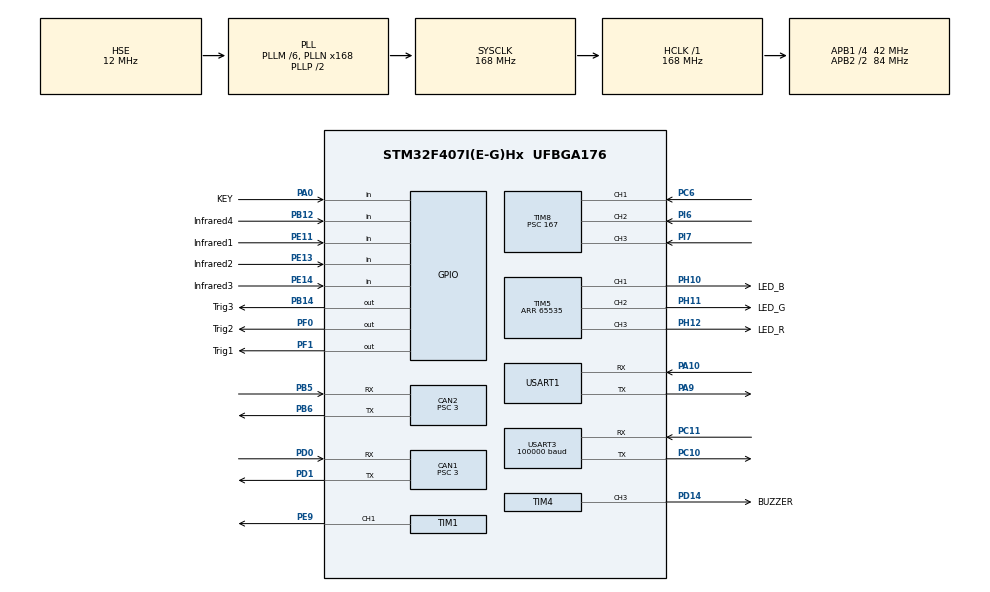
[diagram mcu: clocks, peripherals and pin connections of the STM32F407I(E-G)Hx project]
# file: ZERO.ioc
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CAN1.BS1=CAN_BS1_10TQ
CAN1.BS2=CAN_BS2_3TQ
CAN1.CalculateBaudRate=1000000
CAN1.CalculateTimeBit=1000
CAN1.CalculateTimeQuantum=71.42857142857143
CAN1.Prescaler=3
CAN1.SJW=CAN_SJW_1TQ
CAN2.BS1=CAN_BS1_10TQ
CAN2.BS2=CAN_BS2_3TQ
CAN2.CalculateBaudRate=1000000
CAN2.CalculateTimeBit=1000
CAN2.CalculateTimeQuantum=71.42857142857143
CAN2.Prescaler=3
Dma.Request0=USART3_RX
Dma.Request1=USART1_TX
Dma.USART1_TX.1.Direction=DMA_MEMORY_TO_PERIPH
Dma.USART1_TX.1.FIFOMode=DMA_FIFOMODE_DISABLE
Dma.USART1_TX.1.Instance=DMA2_Stream7
Dma.USART1_TX.1.MemDataAlignment=DMA_MDATAALIGN_BYTE
Dma.USART1_TX.1.MemInc=DMA_MINC_ENABLE
Dma.USART1_TX.1.Mode=DMA_NORMAL
Dma.USART1_TX.1.PeriphDataAlignment=DMA_PDATAALIGN_BYTE
Dma.USART1_TX.1.PeriphInc=DMA_PINC_DISABLE
Dma.USART1_TX.1.Priority=DMA_PRIORITY_VERY_HIGH
Dma.USART3_RX.0.Direction=DMA_PERIPH_TO_MEMORY
Dma.USART3_RX.0.FIFOMode=DMA_FIFOMODE_DISABLE
Dma.USART3_RX.0.Instance=DMA1_Stream1
Dma.USART3_RX.0.MemDataAlignment=DMA_MDATAALIGN_BYTE
Dma.USART3_RX.0.MemInc=DMA_MINC_ENABLE
Dma.USART3_RX.0.Mode=DMA_CIRCULAR
Dma.USART3_RX.0.PeriphDataAlignment=DMA_PDATAALIGN_BYTE
Dma.USART3_RX.0.PeriphInc=DMA_PINC_DISABLE
Dma.USART3_RX.0.Priority=DMA_PRIORITY_VERY_HIGH
FREERTOS.Tasks01=defaultTask,0,128,StartDefaultTask,Default,NULL,Dynamic,NULL,NULL;ServoTask,2,128,Servo_Task,As weak,NULL,Dynamic,NULL,NULL;Infrared_Detect,-3,128,infrared_task,As weak,NULL,Dynamic,NULL,NULL;Ultrasonic_Dete,-3,128,ultrasonic_task,As weak,NULL,Dynamic,NULL,NULL;TranslateTask,-3,128,translate_task,As weak,NULL,Dynamic,NULL,NULL;ModeSetTask,-3,128,mode_set_task,As weak,NULL,Dynamic,NULL,NULL;buzzer_task,-1,128,Buzzer_Task,As weak,NULL,Dynamic,NULL,NULL;LedFlowTask,0,128,led_RGB_flow_task,As weak,NULL,Dynamic,NULL,NULL;Yaw_task,-3,128,yaw_control_task,As weak,NULL,Dynamic,NULL,NULL;Data_Transmit,0,128,USART_Transmit,As weak,NULL,Dynamic,NULL,NULL
Mcu.Family=STM32F4
Mcu.Name=STM32F407I(E-G)Hx
Mcu.Package=UFBGA176
NVIC.CAN1_RX0_IRQn=true\:5\:0\:false\:false\:true\:true\:true\:true\:true
NVIC.DMA1_Stream1_IRQn=true\:5\:0\:false\:false\:true\:true\:false\:true\:true
NVIC.DMA2_Stream7_IRQn=true\:5\:0\:false\:false\:true\:true\:false\:true\:true
NVIC.PriorityGroup=NVIC_PRIORITYGROUP_4
NVIC.TIM7_IRQn=true\:5\:0\:false\:false\:true\:true\:true\:true\:true
NVIC.TIM8_CC_IRQn=true\:5\:0\:false\:false\:true\:true\:true\:true\:true
NVIC.USART1_IRQn=true\:5\:0\:false\:false\:true\:true\:true\:true\:true
PA0-WKUP.GPIO_Label=KEY
PA0-WKUP.GPIO_PuPd=GPIO_PULLUP
PA0-WKUP.Signal=GPIO_Input
PA10.Mode=Asynchronous
PA10.Signal=USART1_RX
PA13.Mode=Serial_Wire
PA13.Signal=SYS_JTMS-SWDIO
PA14.Mode=Serial_Wire
PA14.Signal=SYS_JTCK-SWCLK
PA9.Mode=Asynchronous
PA9.Signal=USART1_TX
PB12.GPIO_Label=Infrared4
PB12.GPIO_PuPd=GPIO_PULLUP
PB12.Signal=GPIO_Input
PB14.GPIO_Label=Trig3
PB14.Signal=GPIO_Output
PB5.Mode=CAN_Activate
PB5.Signal=CAN2_RX
PB6.Mode=CAN_Activate
PB6.Signal=CAN2_TX
PC10.Mode=Asynchronous
PC10.Signal=USART3_TX
PC11.Mode=Asynchronous
PC11.Signal=USART3_RX
PC6.Signal=S_TIM8_CH1
PD0.Mode=CAN_Activate
PD0.Signal=CAN1_RX
PD1.Mode=CAN_Activate
PD1.Signal=CAN1_TX
PD14.GPIO_Label=BUZZER
PD14.GPIO_PuPd=GPIO_PULLUP
PD14.GPIO_Speed=GPIO_SPEED_FREQ_VERY_HIGH
PD14.Signal=S_TIM4_CH3
PE11.GPIO_Label=Infrared1
PE11.GPIO_PuPd=GPIO_PULLUP
PE11.Signal=GPIO_Input
PE13.GPIO_Label=Infrared2
PE13.GPIO_PuPd=GPIO_PULLUP
PE13.Signal=GPIO_Input
PE14.GPIO_Label=Infrared3
PE14.GPIO_PuPd=GPIO_PULLUP
PE14.Signal=GPIO_Input
PE9.Signal=S_TIM1_CH1
PF0.GPIO_Label=Trig2
PF0.Signal=GPIO_Output
PF1.GPIO_Label=Trig1
PF1.Signal=GPIO_Output
PH0-OSC_IN.Mode=HSE-External-Oscillator
PH0-OSC_IN.Signal=RCC_OSC_IN
PH1-OSC_OUT.Mode=HSE-External-Oscillator
PH1-OSC_OUT.Signal=RCC_OSC_OUT
PH10.GPIO_Label=LED_B
PH10.GPIO_PuPd=GPIO_PULLUP
PH10.GPIO_Speed=GPIO_SPEED_FREQ_HIGH
PH10.Signal=S_TIM5_CH1
PH11.GPIO_Label=LED_G
PH11.GPIO_PuPd=GPIO_PULLUP
PH11.GPIO_Speed=GPIO_SPEED_FREQ_HIGH
PH11.Signal=S_TIM5_CH2
PH12.GPIO_Label=LED_R
PH12.GPIO_PuPd=GPIO_PULLUP
PH12.GPIO_Speed=GPIO_SPEED_FREQ_HIGH
PH12.Signal=S_TIM5_CH3
PI6.Signal=S_TIM8_CH2
PI7.Signal=S_TIM8_CH3
ProjectManager.HeapSize=0x200
ProjectManager.StackSize=0x400
ProjectManager.TargetToolchain=MDK-ARM V5
RCC.48MHZClocksFreq_Value=84000000
RCC.AHBFreq_Value=168000000
RCC.APB1CLKDivider=RCC_HCLK_DIV4
RCC.APB1Freq_Value=42000000
RCC.APB1TimFreq_Value=84000000
RCC.APB2CLKDivider=RCC_HCLK_DIV2
RCC.APB2Freq_Value=84000000
RCC.APB2TimFreq_Value=168000000
RCC.CortexFreq_Value=168000000
RCC.HCLKFreq_Value=168000000
RCC.HSE_VALUE=12000000
RCC.HSI_VALUE=16000000
RCC.LSE_VALUE=32768
RCC.PLLM=6
RCC.PLLN=168
RCC.PLLSourceVirtual=RCC_PLLSOURCE_HSE
RCC.SYSCLKFreq_VALUE=168000000
RCC.SYSCLKSource=RCC_SYSCLKSOURCE_PLLCLK
RCC.VCOOutputFreq_Value=336000000
SH.S_TIM1_CH1.0=TIM1_CH1,PWM Generation1 CH1
SH.S_TIM4_CH3.0=TIM4_CH3,PWM Generation3 CH3
SH.S_TIM5_CH1.0=TIM5_CH1,PWM Generation1 CH1
SH.S_TIM5_CH2.0=TIM5_CH2,PWM Generation2 CH2
SH.S_TIM5_CH3.0=TIM5_CH3,PWM Generation3 CH3
SH.S_TIM8_CH1.0=TIM8_CH1,Input_Capture1_from_TI1
SH.S_TIM8_CH2.0=TIM8_CH2,Input_Capture2_from_TI2
SH.S_TIM8_CH3.0=TIM8_CH3,Input_Capture3_from_TI3
TIM1.Channel-PWM\ Generation1\ CH1=TIM_CHANNEL_1
TIM1.Period=999
TIM1.Prescaler=1679
TIM4.Channel-PWM\ Generation3\ CH3=TIM_CHANNEL_3
TIM4.OC3Preload_PWM=ENABLE
TIM4.Prescaler=167
TIM5.Channel-PWM\ Generation1\ CH1=TIM_CHANNEL_1
TIM5.Channel-PWM\ Generation2\ CH2=TIM_CHANNEL_2
TIM5.Channel-PWM\ Generation3\ CH3=TIM_CHANNEL_3
TIM5.Period=65535
TIM7.AutoReloadPreload=TIM_AUTORELOAD_PRELOAD_ENABLE
TIM7.Period=1000
TIM7.Prescaler=83
TIM8.Channel-Input_Capture1_from_TI1=TIM_CHANNEL_1
TIM8.Channel-Input_Capture2_from_TI2=TIM_CHANNEL_2
TIM8.Channel-Input_Capture3_from_TI3=TIM_CHANNEL_3
TIM8.Prescaler=167
USART1.VirtualMode=VM_ASYNC
USART3.BaudRate=100000
USART3.Parity=PARITY_EVEN
USART3.VirtualMode=VM_ASYNC
USART3.WordLength=WORDLENGTH_9B
VP_FREERTOS_VS_CMSIS_V1.Mode=CMSIS_V1
VP_TIM5_VS_ClockSourceINT.Mode=Internal
VP_TIM7_VS_ClockSourceINT.Mode=Enable_Timer
board=custom

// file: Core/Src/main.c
/* USER CODE BEGIN Header */
/**
  ******************************************************************************
  * @file           : main.c
  * @brief          : Main program body
  ******************************************************************************
  * @attention
  *
  * Copyright (c) 2023 STMicroelectronics.
  * All rights reserved.
  *
  * This software is licensed under terms that can be found in the LICENSE file
  * in the root directory of this software component.
  * If no LICENSE file comes with this software, it is provided AS-IS.
  *
  ******************************************************************************
  */
/* USER CODE END Header */
#include "main.h"
#include "cmsis_os.h"
#include "can.h"
#include "dma.h"
#include "tim.h"
#include "usart.h"
#include "gpio.h"
#include "bsp_usart.h"

/* USER CODE BEGIN PV */
extern CAN_HandleTypeDef hcan1;
//extern CAN_HandleTypeDef hcan2;
/* USER CODE END PV */

void SystemClock_Config(void);
void MX_FREERTOS_Init(void);
/* USER CODE BEGIN PFP */
void can_filter_init(void);
/* USER CODE END PFP */

/* USER CODE BEGIN 0 */
uint8_t	infrared_return;//表征红外传感器检测状态的变量

uint32_t time_ms = 0;
int time_second = 0;
uint8_t sbus_buf[18];

//超声传感器相关定义
Ultrasonic_Data_t Ultrasonic_Data[3]; // 3 个超声波传感器的数据

/* USER CODE END 0 */

int main(void)
{

  /* MCU Configuration--------------------------------------------------------*/

  /* Reset of all peripherals, Initializes the Flash interface and the Systick. */
  HAL_Init();

  /* USER CODE BEGIN Init */
	infrared_return=0;//初始化红外传感器
  /* USER CODE END Init */

  /* Configure the system clock */
  SystemClock_Config();

  /* Initialize all configured peripherals */
  MX_GPIO_Init();
  MX_DMA_Init();
  MX_TIM1_Init();
  MX_CAN1_Init();
  MX_TIM7_Init();
  MX_USART1_UART_Init();
  MX_USART3_UART_Init();
  MX_TIM8_Init();
  MX_CAN2_Init();
  MX_TIM4_Init();
  MX_TIM5_Init();
  /* USER CODE BEGIN 2 */
	HAL_TIM_PWM_Start(&htim1,TIM_CHANNEL_1);
	//定时器开始工作
	HAL_TIM_Base_Start_IT(&htim7);
	HAL_TIM_Base_Start(&htim4);
	HAL_TIM_PWM_Start(&htim4,TIM_CHANNEL_3);		//开启蜂鸣器对应的定时器4通道3
	HAL_TIM_Base_Start(&htim5);
  HAL_TIM_PWM_Start(&htim5, TIM_CHANNEL_1);
  HAL_TIM_PWM_Start(&htim5, TIM_CHANNEL_2);
  HAL_TIM_PWM_Start(&htim5, TIM_CHANNEL_3);
	//初始化usart1DMA
	usart1_tx_dma_init();
	//can过滤器
	can_filter_init();
	HAL_UART_Receive_DMA(&huart3,sbus_buf,18);

	HAL_TIM_IC_Start_IT(&htim8,TIM_CHANNEL_1);   //开启TIM8的通道1，并且开启捕获中断
  HAL_TIM_IC_Start_IT(&htim8,TIM_CHANNEL_2);   //开启TIM8的通道2，并且开启捕获中断
  HAL_TIM_IC_Start_IT(&htim8,TIM_CHANNEL_3);   //开启TIM8的通道3，并且开启捕获中断
  __HAL_TIM_ENABLE_IT(&htim8,TIM_IT_UPDATE);   //使能更新中断

  /* USER CODE END 2 */

  /* Call init function for freertos objects (in freertos.c) */
  MX_FREERTOS_Init();

  /* Start scheduler */
  osKernelStart();

  /* We should never get here as control is now taken by the scheduler */
  /* Infinite loop */
  while (1)
  {

  }
}

void SystemClock_Config(void)
{
  RCC_OscInitTypeDef RCC_OscInitStruct = {0};
  RCC_ClkInitTypeDef RCC_ClkInitStruct = {0};

  /** Configure the main internal regulator output voltage
  */
  __HAL_RCC_PWR_CLK_ENABLE();
  __HAL_PWR_VOLTAGESCALING_CONFIG(PWR_REGULATOR_VOLTAGE_SCALE1);

  /** Initializes the RCC Oscillators according to the specified parameters
  * in the RCC_OscInitTypeDef structure.
  */
  RCC_OscInitStruct.OscillatorType = RCC_OSCILLATORTYPE_HSE;
  RCC_OscInitStruct.HSEState = RCC_HSE_ON;
  RCC_OscInitStruct.PLL.PLLState = RCC_PLL_ON;
  RCC_OscInitStruct.PLL.PLLSource = RCC_PLLSOURCE_HSE;
  RCC_OscInitStruct.PLL.PLLM = 6;
  RCC_OscInitStruct.PLL.PLLN = 168;
  RCC_OscInitStruct.PLL.PLLP = RCC_PLLP_DIV2;
  RCC_OscInitStruct.PLL.PLLQ = 4;
  if (HAL_RCC_OscConfig(&RCC_OscInitStruct) != HAL_OK)
  {
    Error_Handler();
  }

  /** Initializes the CPU, AHB and APB buses clocks
  */
  RCC_ClkInitStruct.ClockType = RCC_CLOCKTYPE_HCLK|RCC_CLOCKTYPE_SYSCLK
                              |RCC_CLOCKTYPE_PCLK1|RCC_CLOCKTYPE_PCLK2;
  RCC_ClkInitStruct.SYSCLKSource = RCC_SYSCLKSOURCE_PLLCLK;
  RCC_ClkInitStruct.AHBCLKDivider = RCC_SYSCLK_DIV1;
  RCC_ClkInitStruct.APB1CLKDivider = RCC_HCLK_DIV4;
  RCC_ClkInitStruct.APB2CLKDivider = RCC_HCLK_DIV2;

  if (HAL_RCC_ClockConfig(&RCC_ClkInitStruct, FLASH_LATENCY_5) != HAL_OK)
  {
    Error_Handler();
  }
}

/* USER CODE BEGIN 4 */

//can过滤器
void can_filter_init(void)
{

    CAN_FilterTypeDef can_filter_st;
    can_filter_st.FilterActivation = ENABLE;
    can_filter_st.FilterMode = CAN_FILTERMODE_IDMASK;
    can_filter_st.FilterScale = CAN_FILTERSCALE_32BIT;
    can_filter_st.FilterIdHigh = 0x0000;
    can_filter_st.FilterIdLow = 0x0000;
    can_filter_st.FilterMaskIdHigh = 0x0000;
    can_filter_st.FilterMaskIdLow = 0x0000;
    can_filter_st.FilterBank = 0;
    can_filter_st.FilterFIFOAssignment = CAN_RX_FIFO0;
    HAL_CAN_ConfigFilter(&hcan1, &can_filter_st);
    HAL_CAN_Start(&hcan1);
    HAL_CAN_ActivateNotification(&hcan1, CAN_IT_RX_FIFO0_MSG_PENDING);

    can_filter_st.SlaveStartFilterBank = 14;
    can_filter_st.FilterBank = 14;
    HAL_CAN_ConfigFilter(&hcan2, &can_filter_st);
    HAL_CAN_Start(&hcan2);
    HAL_CAN_ActivateNotification(&hcan2, CAN_IT_RX_FIFO0_MSG_PENDING);

}

//超声传感器输入捕获中断
void HAL_TIM_IC_CaptureCallback(TIM_HandleTypeDef *htim)
{
    if (htim->Instance == TIM8)
    {
        uint8_t channel = 0;
				uint32_t Channel_x = TIM_CHANNEL_1;//后续需要的通道变量
        // 判断是哪个通道触发了捕获事件
        if (htim->Channel == HAL_TIM_ACTIVE_CHANNEL_1) // CH1，超声1
				{
					Channel_x = TIM_CHANNEL_1;//根据channel值转换为相应的通道变量
					channel = 0;
				}
        else if (htim->Channel == HAL_TIM_ACTIVE_CHANNEL_2)
				{
					Channel_x = TIM_CHANNEL_2;
					channel = 1; // CH2，超声2
				}
				else if (htim->Channel == HAL_TIM_ACTIVE_CHANNEL_3)
				{
					Channel_x = TIM_CHANNEL_3;
					channel = 2; // CH3，超声3
				}

        if (Ultrasonic_Data[channel].Is_First_Captured == 0) // 第一次捕获（上升沿）
        {
            Ultrasonic_Data[channel].IC_Val1 = HAL_TIM_ReadCapturedValue(htim, Channel_x); // 读取捕获值
            Ultrasonic_Data[channel].Is_First_Captured = 1; // 标记第一次捕获已完成
            __HAL_TIM_SET_CAPTUREPOLARITY(htim, Channel_x, TIM_INPUTCHANNELPOLARITY_FALLING); // 设置捕获极性为下降沿
        }
        else // 第二次捕获（下降沿）
        {
            Ultrasonic_Data[channel].IC_Val2 = HAL_TIM_ReadCapturedValue(htim, Channel_x); // 读取捕获值
            __HAL_TIM_SET_COUNTER(htim, 0); // 重置计数器

            // 计算时间差
            uint32_t Difference = (Ultrasonic_Data[channel].IC_Val2 > Ultrasonic_Data[channel].IC_Val1) ?
                                  (Ultrasonic_Data[channel].IC_Val2 - Ultrasonic_Data[channel].IC_Val1) :
                                  ((0xFFFF - Ultrasonic_Data[channel].IC_Val1) + Ultrasonic_Data[channel].IC_Val2);

            // 计算距离（单位：cm）
            Ultrasonic_Data[channel].Distance = Difference * 0.034 / 2;

            // 重置捕获标志
            Ultrasonic_Data[channel].Is_First_Captured = 0;

            // 恢复捕获极性为上升沿
            __HAL_TIM_SET_CAPTUREPOLARITY(htim, Channel_x, TIM_INPUTCHANNELPOLARITY_RISING);
        }
    }
}

//超声传感器引脚输入电平
void Ultrasonic_Trigger(GPIO_TypeDef *Trig_GPIO_Port, uint16_t Trig_Pin)
{
    HAL_GPIO_WritePin(Trig_GPIO_Port, Trig_Pin, GPIO_PIN_SET); // 设置 Trig 引脚为高电平
    osDelay(10);// 延时约 10 μs
    HAL_GPIO_WritePin(Trig_GPIO_Port, Trig_Pin, GPIO_PIN_RESET); // 设置 Trig 引脚为低电平
}
/* USER CODE END 4 */

void Error_Handler(void)
{
  __disable_irq();
  while (1)
  {
  }
}

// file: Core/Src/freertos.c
/* USER CODE BEGIN Header */
/**
  ******************************************************************************
  * File Name          : freertos.c
  * Description        : Code for freertos applications
  ******************************************************************************
  * @attention
  *
  * Copyright (c) 2023 STMicroelectronics.
  * All rights reserved.
  *
  * This software is licensed under terms that can be found in the LICENSE file
  * in the root directory of this software component.
  * If no LICENSE file comes with this software, it is provided AS-IS.
  *
  ******************************************************************************
  */
/* USER CODE END Header */

#include "FreeRTOS.h"
#include "task.h"
#include "main.h"
#include "cmsis_os.h"

/* USER CODE BEGIN Variables */
osThreadId LED_GreenHandle;
osThreadId MotorTaskHandle;
/* USER CODE END Variables */
osThreadId defaultTaskHandle;
osThreadId ServoTaskHandle;
osThreadId Infrared_DetectHandle;
osThreadId Ultrasonic_DeteHandle;
osThreadId TranslateTaskHandle;
osThreadId ModeSetTaskHandle;
osThreadId buzzer_taskHandle;
osThreadId LedFlowTaskHandle;
osThreadId Yaw_taskHandle;
osThreadId Data_TransmitHandle;

void StartDefaultTask(void const * argument);
void Servo_Task(void const * argument);
void infrared_task(void const * argument);
void ultrasonic_task(void const * argument);
void translate_task(void const * argument);
void mode_set_task(void const * argument);
void Buzzer_Task(void const * argument);
void led_RGB_flow_task(void const * argument);
void yaw_control_task(void const * argument);
void USART_Transmit(void const * argument);

void MX_FREERTOS_Init(void); /* (MISRA C 2004 rule 8.1) */

/* GetIdleTaskMemory prototype (linked to static allocation support) */
void vApplicationGetIdleTaskMemory( StaticTask_t **ppxIdleTaskTCBBuffer, StackType_t **ppxIdleTaskStackBuffer, uint32_t *pulIdleTaskStackSize );

/* USER CODE BEGIN GET_IDLE_TASK_MEMORY */
static StaticTask_t xIdleTaskTCBBuffer;
static StackType_t xIdleStack[configMINIMAL_STACK_SIZE];

void vApplicationGetIdleTaskMemory( StaticTask_t **ppxIdleTaskTCBBuffer, StackType_t **ppxIdleTaskStackBuffer, uint32_t *pulIdleTaskStackSize )
{
  *ppxIdleTaskTCBBuffer = &xIdleTaskTCBBuffer;
  *ppxIdleTaskStackBuffer = &xIdleStack[0];
  *pulIdleTaskStackSize = configMINIMAL_STACK_SIZE;
  /* place for user code */
}
/* USER CODE END GET_IDLE_TASK_MEMORY */

void MX_FREERTOS_Init(void) {

  /* Create the thread(s) */
  /* definition and creation of defaultTask */
  osThreadDef(defaultTask, StartDefaultTask, osPriorityNormal, 0, 128);
  defaultTaskHandle = osThreadCreate(osThread(defaultTask), NULL);

  /* definition and creation of ServoTask */
  osThreadDef(ServoTask, Servo_Task, osPriorityHigh, 0, 128);
  ServoTaskHandle = osThreadCreate(osThread(ServoTask), NULL);

  /* definition and creation of Infrared_Detect */
  osThreadDef(Infrared_Detect, infrared_task, osPriorityIdle, 0, 128);
  Infrared_DetectHandle = osThreadCreate(osThread(Infrared_Detect), NULL);

  /* definition and creation of Ultrasonic_Dete */
  osThreadDef(Ultrasonic_Dete, ultrasonic_task, osPriorityIdle, 0, 128);
  Ultrasonic_DeteHandle = osThreadCreate(osThread(Ultrasonic_Dete), NULL);

  /* definition and creation of TranslateTask */
  osThreadDef(TranslateTask, translate_task, osPriorityIdle, 0, 128);
  TranslateTaskHandle = osThreadCreate(osThread(TranslateTask), NULL);

  /* definition and creation of ModeSetTask */
  osThreadDef(ModeSetTask, mode_set_task, osPriorityIdle, 0, 128);
  ModeSetTaskHandle = osThreadCreate(osThread(ModeSetTask), NULL);

  /* definition and creation of buzzer_task */
  osThreadDef(buzzer_task, Buzzer_Task, osPriorityBelowNormal, 0, 128);
  buzzer_taskHandle = osThreadCreate(osThread(buzzer_task), NULL);

  /* definition and creation of LedFlowTask */
  osThreadDef(LedFlowTask, led_RGB_flow_task, osPriorityNormal, 0, 128);
  LedFlowTaskHandle = osThreadCreate(osThread(LedFlowTask), NULL);

  /* definition and creation of Yaw_task */
  osThreadDef(Yaw_task, yaw_control_task, osPriorityIdle, 0, 128);
  Yaw_taskHandle = osThreadCreate(osThread(Yaw_task), NULL);

  /* definition and creation of Data_Transmit */
  osThreadDef(Data_Transmit, USART_Transmit, osPriorityNormal, 0, 128);
  Data_TransmitHandle = osThreadCreate(osThread(Data_Transmit), NULL);

}

void StartDefaultTask(void const * argument)
{
  for(;;)
  {
    osDelay(1);
  }
}

__weak void Servo_Task(void const * argument)
{
  for(;;)
  {
    osDelay(1);
  }
}

__weak void infrared_task(void const * argument)
{
  for(;;)
  {
    osDelay(1);
  }
}

__weak void ultrasonic_task(void const * argument)
{
  for(;;)
  {
    osDelay(1);
  }
}

__weak void translate_task(void const * argument)
{
  for(;;)
  {
    osDelay(1);
  }
}

__weak void mode_set_task(void const * argument)
{
  for(;;)
  {
    osDelay(1);
  }
}

__weak void Buzzer_Task(void const * argument)
{
  for(;;)
  {
    osDelay(1);
  }
}

__weak void led_RGB_flow_task(void const * argument)
{
  for(;;)
  {
    osDelay(1);
  }
}

__weak void yaw_control_task(void const * argument)
{
  for(;;)
  {
    osDelay(1);
  }
}

__weak void USART_Transmit(void const * argument)
{
  for(;;)
  {
    osDelay(1);
  }
}
